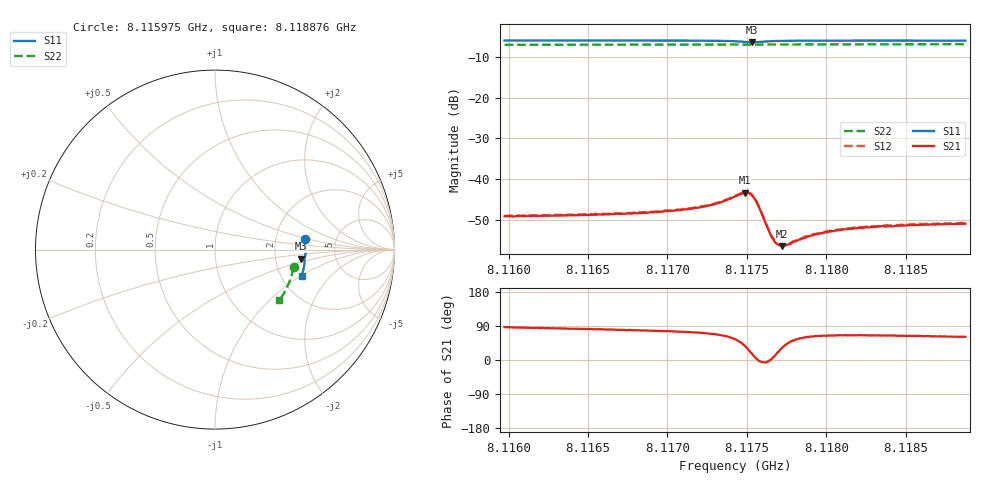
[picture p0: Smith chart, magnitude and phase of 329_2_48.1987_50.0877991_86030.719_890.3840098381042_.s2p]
#  HZ  S  RI  R  50.00
! Rohde & Schwarz Vector Network Analyzer
! Rohde-Schwarz,ZNB20-2Port,1311601062101988,3.16
! Created: UTC 3/20/2024, 11:50:49 AM
! freq[Hz]  re:S11  im:S11  re:S21  im:S21  re:S12  im:S12  re:S22  im:S22
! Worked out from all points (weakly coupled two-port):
!   401 points, 8.115975 GHz to 8.118876 GHz, reference 50 ohm
!   highest |S21| = -43.34 dB at 8.11749 GHz (marker M1); lowest = -56.5 dB at 8.117723 GHz (marker M2)
!   lowest |S11| = -6.4 dB at 8.117534 GHz (marker M3), VSWR 2.86, Z = 140 - j18.5 ohm
!   |S11| at or under -10 dB: nowhere
!   |S22| runs from -7.0 to -6.8 dB; largest |S21 - S12| = 0.00018
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8.1159746e9  0.5038 0.0599  0.000207 0.00349  0.000266 0.00355  0.4374 -0.0994
8.1164606e9  0.5062 0.0235  0.000498 0.00361  0.000567 0.00361  0.4298 -0.1324
8.1169465e9  0.5055 -0.0139  0.000905 0.00384  0.000999 0.00394  0.4198 -0.1648
8.1170771e9  0.5047 -0.0244  0.00112 0.00399  0.00116 0.00405  0.4169 -0.1734
8.1172366e9  0.5026 -0.0381  0.00154 0.00438  0.0016 0.00441  0.4128 -0.1839
8.1173309e9  0.4999 -0.047  0.00209 0.00471  0.00221 0.00474  0.4103 -0.1899
8.1174252e9  0.493 -0.0562  0.00354 0.005  0.00363 0.00504  0.4073 -0.196
8.1174905e9  0.4829 -0.0578  0.00551 0.004  0.00565 0.00397  0.405 -0.2
8.1175123e9  0.4796 -0.055  0.00602 0.00296  0.00615 0.00295  0.4045 -0.2011
8.117534e9  0.4786 -0.0507  0.00602 0.00165  0.00617 0.00162  0.4037 -0.2023
8.1175485e9  0.4796 -0.0477  0.0057 0.000832  0.00579 0.000772  0.4034 -0.2029
8.1175703e9  0.4829 -0.0449  0.00477 -2.45e-05  0.00487 -9.09e-05  0.4031 -0.2041
8.1176356e9  0.4933 -0.0473  0.00237 -0.000161  0.00243 -0.000157  0.4017 -0.2083
8.1176646e9  0.4958 -0.0507  0.00185 0.000208  0.00186 0.000226  0.4009 -0.2103
8.1176936e9  0.4974 -0.0541  0.00148 0.000549  0.00152 0.000518  0.4001 -0.2123
8.1177226e9  0.4983 -0.0574  0.00126 0.000806  0.00129 0.000795  0.3992 -0.2141
8.1177516e9  0.4989 -0.0604  0.00116 0.00104  0.00115 0.00106  0.3984 -0.2158
8.1179112e9  0.4986 -0.0755  0.000966 0.00179  0.000993 0.00183  0.3934 -0.226
8.1180562e9  0.497 -0.0875  0.000993 0.00211  0.00101 0.00215  0.3886 -0.2351
8.1181143e9  0.4962 -0.0922  0.00101 0.00219  0.00102 0.00223  0.3864 -0.2386
8.1183971e9  0.4918 -0.1135  0.00113 0.0024  0.00117 0.00242  0.3764 -0.2558
8.1188758e9  0.4821 -0.1483  0.00137 0.00248  0.00141 0.00252  0.3576 -0.2835
